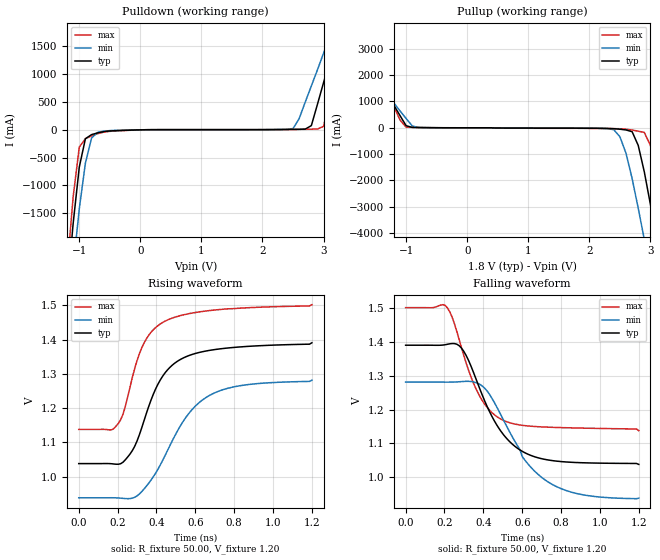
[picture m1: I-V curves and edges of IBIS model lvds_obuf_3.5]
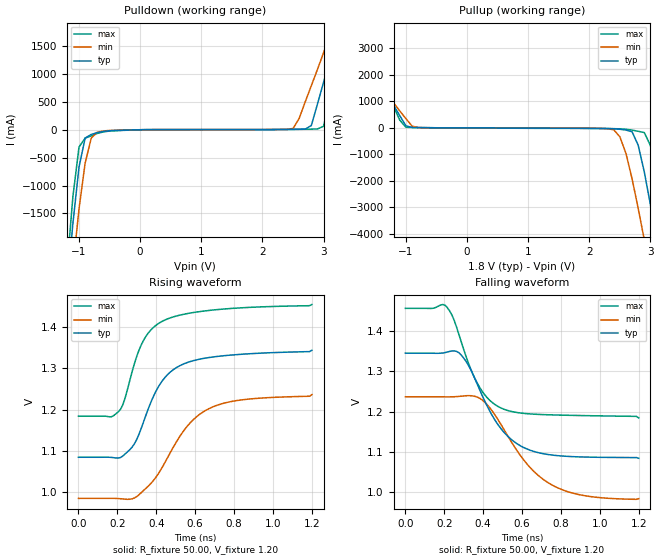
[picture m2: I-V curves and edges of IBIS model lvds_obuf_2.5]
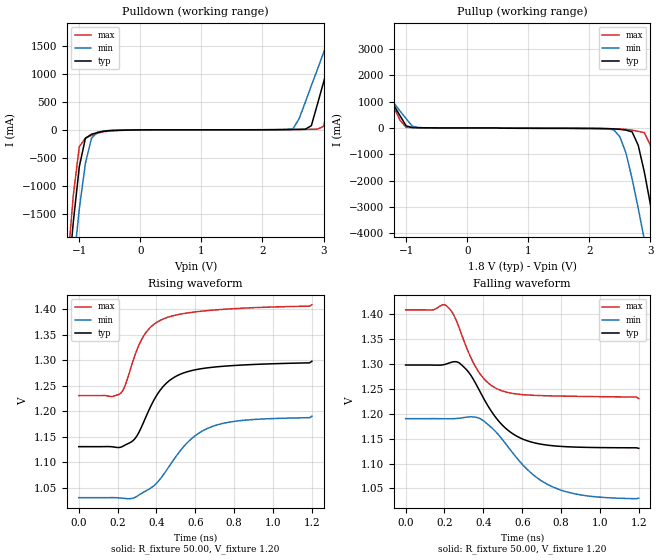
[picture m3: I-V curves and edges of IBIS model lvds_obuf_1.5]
| IBIS file created by TI
[IBIS ver]   3.2
[File name]   lvds_100.ibs
[File Rev]   1.0
[Date]   Dec 06, 2007
[Source]   Data created at TI
[Notes]   GS30 LVDS Driver
[Disclaimer] Please be aware that in the absence of a written agreement,
                 Texas Instruments (TI) assumes no liability for: 1) the
                 accuracy of the IBIS models provided to your company, 2) the
                 proper functioning of these IBIS models in your design or for
                 any resulting applications, or; 3) infringement of patents,
                 copyrights, or intellectual property rights resulting from
                 your use of these IBIS models. TI provides IBIS models as a
                 service to our customers and therefore reserves the right to
                 limit distribution of the IBIS models.
[Copyright]   Property of Texas Instruments Incorporated. Unauthorized
   reproduction and/or distribution is strictly prohibited. This
   product is protected under copyright law and trade secret law
   as an unpublished work. Copyright (C) 2003, Texas Instruments
   Incorporated, all rights reserved. These commodities are under
   the U.S. Government distribution license control. As such,
   they are not to be re-exported without the prior approval of
   the U.S. Department of Commerce.
|   Component ADS5281IPFP
[Component]   ADS5281IPFP
[Manufacturer]   Texas Instruments.
[Package]
| variable   typ   min   max
R_pkg   0.5   NA   NA
L_pkg   5.00nH   NA   NA
C_pkg   2.00pF   NA   NA
[Pin]  signal_name   model_name   R_pin   L_pin   C_pin
LOUTP  LOUTP   OPERATIONAL_MODE
LOUTM  LOUTM   OPERATIONAL_MODE
| IN   IN   dummy
SLVDD  SLVDD   POWER
LVSS   LVSS   GND
[Diff Pin]   inv_pin   vdiff   tdelay_typ   tdelay_min   tdelay_max
 LOUTP  LOUTM   350mV   0   0   0
|   Component ADS528XIRGC
[Component]   ADS528XIRGC
[Manufacturer]   Texas Instruments.
[Package]
| variable   typ   min   max
R_pkg   0.5   NA   NA
L_pkg   2.00nH   NA   NA
C_pkg   0.3pF   NA   NA
[Pin]  signal_name   model_name   R_pin   L_pin   C_pin
LOUTP  LOUTP   OPERATIONAL_MODE
LOUTM  LOUTM   OPERATIONAL_MODE
| IN   IN   dummy
SLVDD  SLVDD   POWER
LVSS   LVSS   GND
[Diff Pin]   inv_pin   vdiff   tdelay_typ   tdelay_min   tdelay_max
 LOUTP  LOUTM   350mV   0   0   0
|   Component AFE5805ZCF
[Component]   AFE5805ZCF
[Manufacturer]   Texas Instruments.
[Package]
| variable   typ   min   max
R_pkg   0.3   NA   NA
L_pkg   5.00nH   NA   NA
C_pkg   1.00pF   NA   NA
[Pin]  signal_name   model_name   R_pin   L_pin   C_pin
LOUTP  LOUTP   OPERATIONAL_MODE
LOUTM  LOUTM   OPERATIONAL_MODE
| IN   IN   dummy
SLVDD  SLVDD   POWER
LVSS   LVSS   GND
[Diff Pin]   inv_pin   vdiff   tdelay_typ   tdelay_min   tdelay_max
 LOUTP  LOUTM   350mV   0   0   0
[Model Selector] OPERATIONAL_MODE
|  Model name   Description
lvds_obuf_3.5   LVDS tri-state buffer with current setting 3.5mA
lvds_obuf_2.5   LVDS tri-state buffer with current setting 2.5mA
lvds_obuf_1.5   LVDS tri-state buffer with current setting 1.5mA
lvds_obuf_0.5   LVDS tri-state buffer with current setting 0.5mA
lvds_obuf_7.5   LVDS tri-state buffer with current setting 7.5mA
lvds_obuf_6.5   LVDS tri-state buffer with current setting 6.5mA
lvds_obuf_5.5   LVDS tri-state buffer with current setting 5.5mA
lvds_obuf_4.5   LVDS tri-state buffer with current setting 4.5mA
| Models and submodels in the file (8): lvds_obuf_3.5 (Output), lvds_obuf_2.5 (Output), lvds_obuf_1.5 (Output), lvds_obuf_0.5 (Output), lvds_obuf_7.5 (Output), lvds_obuf_6.5 (Output), lvds_obuf_5.5 (Output), lvds_obuf_4.5 (Output)
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|   Model lvds_obuf_3.5
[Model]   lvds_obuf_3.5
Model_type   Output
Polarity   Non-Inverting
Vmeas =   1.2000V
C_comp   4.00pF   4.00pF   4.00pF
[Temperature Range]   25.00   0.12k   -40.00
[Voltage Range]   1.80V   1.65V   1.95V
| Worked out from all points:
|   slope of the pulldown table from 0 to 0.27 V, typ, clamps not added: 85.3 ohm
|   slope of the pullup table from 0 to 0.27 V, typ, clamps not added: 20 kohm
|   rising waveform, R_fixture 50.00, V_fixture 1.20: 20-80 % time 169ps typ, 222ps min, 142ps max; typ from 1.04 V to 1.39 V
|   falling waveform, R_fixture 50.00, V_fixture 1.20: 20-80 % time 188ps typ, 221ps min, 150ps max; typ from 1.39 V to 1.04 V
[Pulldown]
| voltage   I(typ)   I(min)   I(max)
-1.8V     -11.18A    -11.48A    -11.52A
-1.2V     -2.92A     -3.64A     -2.52A
-1.1V     -1.68A     -2.48A     -1.2A
-1V       -670mA     -1.42A     -310mA
-900mV    -160mA     -600mA     -160mA
-700mV    -54.91mA   -45.68mA   -69.19mA
2.5V      8.29mA     23.02mA    6.44mA
2.8V      76.02mA    790mA      12.22mA
3V        850mA      1.38A      63.22mA
3.2V      1.63A      1.99A      1.04A
3.4V      2.43A      2.86A      2.04A
3.6V      3.25A      7.06A      3.06A
[Pullup]
| voltage   I(typ)   I(min)   I(max)
-1.8V     3.24A      3.32A      3.82A
-1.6V     2.42A      2.15A      2.8A
-1V       77.19mA    350mA      21.71mA
2.4V      -35.4mA    -73.41mA   -31.73mA
2.5V      -54.94mA   -340mA     -37.96mA
2.7V      -150mA     -1.93A     -85.62mA
2.9V      -1.68A     -4.25A     -180mA
3V        -2.92A     -5.48A     -670mA
3.1V      -4.24A     -6.74A     -1.83A
3.2V      -5.6A      -8.01A     -3.23A
3.3V      -6.98A     -9.31A     -4.7A
3.6V      -11.21A    -15.11A    -9.24A
[Ramp]
| variable   typ   min   max
dV/dt_r   0.42/0.21n   0.27/0.25n   0.55/0.18n
dV/dt_f   0.13/0.16n   0.12/0.21n   0.14/0.13n
R_load = 50.00
[Rising Waveform]
R_fixture = 50.00
V_fixture = 1.20
V_fixture_min = 1.10
V_fixture_max = 1.30
| time   V(typ)   V(min)   V(max)
0s        1.038V     937.9mV    1.138V
168ps     1.037V     938.1mV    1.136V
216ps     1.038V     936.9mV    1.166V
240ps     1.049V     935.7mV    1.205V
324ps     1.142V     955.8mV    1.376V
384ps     1.241V     999.6mV    1.429V
444ps     1.303V     1.061V     1.454V
564ps     1.353V     1.182V     1.475V
684ps     1.37V      1.24V      1.486V
1.2ns     1.391V     1.282V     1.502V
[Falling Waveform]
R_fixture = 50.00
V_fixture = 1.20
V_fixture_min = 1.10
V_fixture_max = 1.30
| time   V(typ)   V(min)   V(max)
0s        1.391V     1.282V     1.502V
216ps     1.394V     1.281V     1.501V
288ps     1.382V     1.283V     1.383V
372ps     1.276V     1.278V     1.25V
420ps     1.209V     1.255V     1.206V
492ps     1.135V     1.183V     1.172V
600ps     1.077V     1.061V     1.154V
744ps     1.05V      982.1mV    1.148V
924ps     1.043V     946.8mV    1.145V
1.2ns     1.038V     937.9mV    1.138V
|   Model lvds_obuf_2.5
[Model]   lvds_obuf_2.5
Model_type   Output
Polarity   Non-Inverting
Vmeas =   1.2000V
C_comp   4.00pF   4.00pF   4.00pF
[Temperature Range]   25.00   0.12k   -40.00
[Voltage Range]   1.80V   1.65V   1.95V
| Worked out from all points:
|   slope of the pulldown table from 0 to 0.27 V, typ, clamps not added: 118 ohm
|   slope of the pullup table from 0 to 0.27 V, typ, clamps not added: 20 kohm
|   rising waveform, R_fixture 50.00, V_fixture 1.20: 20-80 % time 168ps typ, 219ps min, 143ps max; typ from 1.08 V to 1.34 V
|   falling waveform, R_fixture 50.00, V_fixture 1.20: 20-80 % time 185ps typ, 233ps min, 145ps max; typ from 1.34 V to 1.08 V
[Pulldown]
| voltage   I(typ)   I(min)   I(max)
-1.8V     -11.16A    -11.47A    -11.5A
-1.2V     -2.91A     -3.64A     -2.52A
-1.1V     -1.68A     -2.48A     -1.2A
-1V       -670mA     -1.42A     -310mA
-900mV    -150mA     -600mA     -150mA
-700mV    -52.19mA   -43.75mA   -66.1mA
2.5V      7.36mA     22.09mA    5.51mA
2.8V      75.08mA    790mA      11.29mA
3V        850mA      1.38A      62.26mA
3.2V      1.63A      1.99A      1.04A
3.4V      2.43A      2.86A      2.04A
3.6V      3.24A      7.06A      3.05A
[Pullup]
| voltage   I(typ)   I(min)   I(max)
-1.8V     3.24A      3.32A      3.82A
-1.6V     2.42A      2.15A      2.8A
-1V       77.13mA    350mA      21.58mA
2.4V      -35.79mA   -73.32mA   -32.11mA
2.5V      -55.27mA   -340mA     -38.33mA
2.7V      -150mA     -1.93A     -85.86mA
2.9V      -1.67A     -4.24A     -180mA
3V        -2.91A     -5.47A     -670mA
3.1V      -4.23A     -6.73A     -1.83A
3.2V      -5.59A     -8A        -3.22A
3.3V      -6.97A     -9.3A      -4.69A
3.6V      -11.19A    -15.1A     -9.22A
[Ramp]
| variable   typ   min   max
dV/dt_r   0.41/0.21n   0.26/0.25n   0.54/0.18n
dV/dt_f   95.51m/0.15n   88.52m/0.21n   0.11/0.12n
R_load = 50.00
[Rising Waveform]
R_fixture = 50.00
V_fixture = 1.20
V_fixture_min = 1.10
V_fixture_max = 1.30
| time   V(typ)   V(min)   V(max)
0s        1.084V     984.2mV    1.184V
204ps     1.082V     983.8mV    1.194V
228ps     1.087V     982.7mV    1.212V
276ps     1.109V     983.1mV    1.293V
324ps     1.156V     998.6mV    1.359V
384ps     1.231V     1.027V     1.399V
444ps     1.278V     1.071V     1.418V
564ps     1.315V     1.162V     1.434V
684ps     1.328V     1.205V     1.442V
1.2ns     1.345V     1.237V     1.456V
[Falling Waveform]
R_fixture = 50.00
V_fixture = 1.20
V_fixture_min = 1.10
V_fixture_max = 1.30
| time   V(typ)   V(min)   V(max)
0s        1.345V     1.237V     1.456V
204ps     1.346V     1.236V     1.464V
240ps     1.35V      1.236V     1.439V
300ps     1.332V     1.239V     1.354V
384ps     1.252V     1.232V     1.258V
492ps     1.157V     1.168V     1.209V
624ps     1.108V     1.071V     1.195V
756ps     1.092V     1.018V     1.192V
936ps     1.087V     990.5mV    1.19V
1.2ns     1.084V     984.2mV    1.184V
|   Model lvds_obuf_1.5
[Model]   lvds_obuf_1.5
Model_type   Output
Polarity   Non-Inverting
Vmeas =   1.2000V
C_comp   4.00pF   4.00pF   4.00pF
[Temperature Range]   25.00   0.12k   -40.00
[Voltage Range]   1.80V   1.65V   1.95V
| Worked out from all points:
|   slope of the pulldown table from 0 to 0.27 V, typ, clamps not added: 196 ohm
|   slope of the pullup table from 0 to 0.27 V, typ, clamps not added: 20 kohm
|   rising waveform, R_fixture 50.00, V_fixture 1.20: 20-80 % time 166ps typ, 214ps min, 145ps max; typ from 1.13 V to 1.3 V
|   falling waveform, R_fixture 50.00, V_fixture 1.20: 20-80 % time 181ps typ, 234ps min, 138ps max; typ from 1.3 V to 1.13 V
[Pulldown]
| voltage   I(typ)   I(min)   I(max)
-1.8V     -11.14A    -11.47A    -11.48A
-1.2V     -2.91A     -3.63A     -2.51A
-1.1V     -1.67A     -2.47A     -1.19A
-1V       -660mA     -1.41A     -300mA
-900mV    -150mA     -600mA     -150mA
-800mV    -79.02mA   -150mA     -100mA
2.5V      6.43mA     21.16mA    4.57mA
2.8V      74.15mA    790mA      10.35mA
3V        850mA      1.38A      61.31mA
3.3V      2.03A      2.34A      1.54A
3.4V      2.43A      2.86A      2.04A
3.6V      3.24A      7.06A      3.05A
[Pullup]
| voltage   I(typ)   I(min)   I(max)
-1.8V     3.24A      3.32A      3.82A
-1.6V     2.42A      2.15A      2.8A
-1V       77.07mA    350mA      21.44mA
2.4V      -35.65mA   -72.9mA    -31.86mA
2.5V      -55.07mA   -340mA     -38.06mA
2.7V      -150mA     -1.93A     -85.49mA
2.9V      -1.67A     -4.24A     -180mA
3V        -2.91A     -5.47A     -660mA
3.1V      -4.23A     -6.72A     -1.82A
3.2V      -5.58A     -7.99A     -3.22A
3.3V      -6.95A     -9.29A     -4.68A
3.6V      -11.17A    -15.1A     -9.2A
[Ramp]
| variable   typ   min   max
dV/dt_r   0.39/0.21n   0.25/0.24n   0.52/0.18n
dV/dt_f   65.03m/0.15n   57.91m/0.20n   74.37m/0.10n
R_load = 50.00
[Rising Waveform]
R_fixture = 50.00
V_fixture = 1.20
V_fixture_min = 1.10
V_fixture_max = 1.30
| time   V(typ)   V(min)   V(max)
0s        1.131V     1.031V     1.23V
216ps     1.129V     1.03V      1.235V
240ps     1.134V     1.029V     1.251V
288ps     1.146V     1.031V     1.308V
336ps     1.18V      1.042V     1.349V
396ps     1.228V     1.057V     1.373V
444ps     1.252V     1.08V      1.382V
564ps     1.278V     1.14V      1.393V
684ps     1.286V     1.169V     1.398V
1.2ns     1.298V     1.19V      1.409V
[Falling Waveform]
R_fixture = 50.00
V_fixture = 1.20
V_fixture_min = 1.10
V_fixture_max = 1.30
| time   V(typ)   V(min)   V(max)
0s        1.298V     1.19V      1.409V
216ps     1.301V     1.19V      1.415V
276ps     1.302V     1.191V     1.372V
372ps     1.253V     1.192V     1.286V
432ps     1.211V     1.176V     1.26V
492ps     1.18V      1.151V     1.247V
624ps     1.146V     1.089V     1.238V
756ps     1.136V     1.053V     1.236V
936ps     1.132V     1.035V     1.235V
1.2ns     1.131V     1.031V     1.23V
